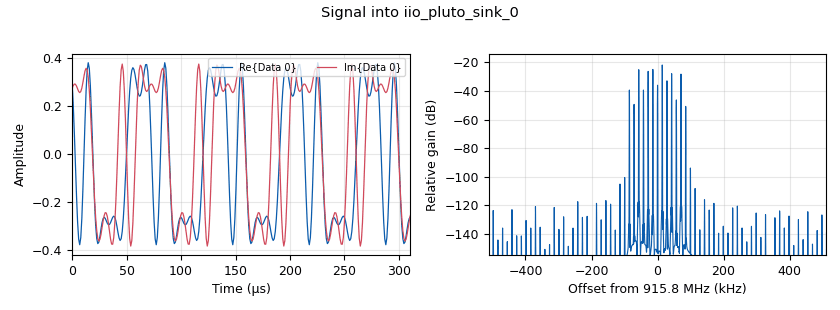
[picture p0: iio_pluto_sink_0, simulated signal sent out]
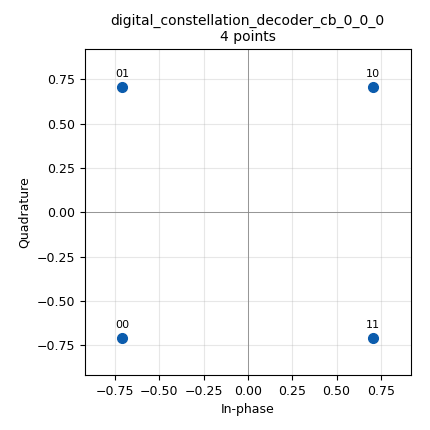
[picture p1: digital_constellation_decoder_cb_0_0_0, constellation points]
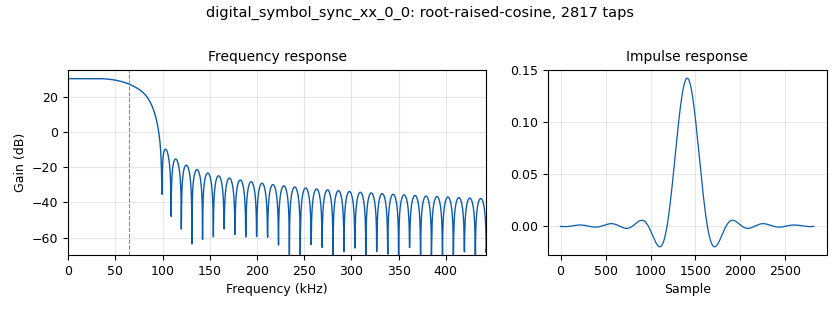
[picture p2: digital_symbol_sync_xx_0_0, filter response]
options:
  parameters:
    generate_options: qt_gui
    id: QAM64
    output_language: python
    title: QAM_Combo
  states: {}

blocks:
- name: carrier_freq
  id: variable
  parameters:
    value: int(915.8e6)
  states: {}
- name: constellation
  id: variable_constellation
  parameters:
    const_points: '[-1-1j, -1+1j, 1+1j, 1-1j]'
    dims: '1'
    normalization: digital.constellation.AMPLITUDE_NORMALIZATION
    precision: '8'
    rot_sym: '4'
    sym_map: '[0,1,2,3]'
    type: calcdist
  states: {}
- name: excess_bw
  id: variable
  parameters:
    value: '0.50'
  states: {}
- name: nfilts
  id: variable
  parameters:
    value: '32'
  states: {}
- name: offset
  id: variable_qtgui_range
  parameters:
    gui_hint: 6,0
    start: '-200e3'
    step: '1'
    stop: 200e3
    value: '0'
  states: {}
- name: rcc_taps
  id: variable_rrc_filter_taps
  parameters:
    alpha: excess_bw
    gain: nfilts
    ntaps: 11*samp_per_sym*nfilts
    samp_rate: nfilts*samp_rate
    sym_rate: samp_rate/samp_per_sym
  states: {}
- name: samp_per_sym
  id: variable
  parameters:
    value: '8'
  states: {}
- name: samp_rate
  id: variable
  parameters:
    value: '1024000'
  states: {}
- name: tx_attenuation
  id: variable_qtgui_range
  parameters:
    gui_hint: 3,0
    start: '0'
    step: '1'
    stop: '89'
    value: '10'
  states: {}
- name: analog_agc_xx_0
  id: analog_agc_xx
  parameters:
    gain: '1.0'
    max_gain: '65536'
    rate: '1e-4'
    reference: '1.0'
    type: complex
  states: {}
- name: analog_sig_source_x_0
  id: analog_sig_source_x
  parameters:
    amp: '1'
    freq: offset
    offset: '0'
    phase: '0'
    samp_rate: samp_rate
    type: complex
    waveform: analog.GR_COS_WAVE
  states: {}
- name: blocks_multiply_const_vxx_0
  id: blocks_multiply_const_vxx
  parameters:
    const: '0.4'
    type: complex
  states: {}
- name: blocks_multiply_xx_0
  id: blocks_multiply_xx
  parameters:
    type: complex
  states: {}
- name: blocks_skiphead_0
  id: blocks_skiphead
  parameters:
    comment: |-
      skip one second of samples
      to allow FLL to sync
    num_items: int(samp_rate)
    type: complex
  states: {}
- name: blocks_unpack_k_bits_bb_0_0
  id: blocks_unpack_k_bits_bb
  parameters:
    k: samp_per_sym
  states: {}
- name: blocks_unpacked_to_packed_xx_0_0
  id: blocks_unpacked_to_packed_xx
  parameters:
    bits_per_chunk: constellation.bits_per_symbol()
    endianness: gr.GR_MSB_FIRST
    type: byte
  states: {}
- name: blocks_vector_source_x_0
  id: blocks_vector_source_x
  parameters:
    repeat: 'True'
    type: byte
    vector: '[0,1, 2, 3, 0, 3, 1, 2, 0]'
  states: {}
- name: digital_constellation_decoder_cb_0_0_0
  id: digital_constellation_decoder_cb
  parameters:
    constellation: constellation
  states: {}
- name: digital_constellation_modulator_0
  id: digital_constellation_modulator
  parameters:
    constellation: constellation
    differential: 'True'
    excess_bw: excess_bw
    samples_per_symbol: samp_per_sym
  states: {}
- name: digital_costas_loop_cc_0
  id: digital_costas_loop_cc
  parameters:
    order: '4'
    w: 2*math.pi*.01
  states: {}
- name: digital_diff_decoder_bb_0
  id: digital_diff_decoder_bb
  parameters:
    coding: digital.DIFF_DIFFERENTIAL
    modulus: '4'
  states: {}
- name: digital_fll_band_edge_cc_0
  id: digital_fll_band_edge_cc
  parameters:
    filter_size: '33'
    rolloff: '.5'
    samps_per_sym: samp_per_sym
    type: cc
    w: 2*math.pi/samp_per_sym/100
  states: {}
- name: digital_symbol_sync_xx_0_0
  id: digital_symbol_sync_xx
  parameters:
    damping: '1.0'
    loop_bw: '0.045'
    max_dev: '1.5'
    nfilters: nfilts
    osps: '1'
    pfb_mf_taps: rcc_taps
    resamp_type: digital.IR_PFB_MF
    sps: samp_per_sym
    ted_gain: '1.0'
    ted_type: digital.TED_SIGNAL_TIMES_SLOPE_ML
    type: cc
  states: {}
- name: iio_pluto_sink_0
  id: iio_pluto_sink
  parameters:
    attenuation1: tx_attenuation
    bandwidth: '20000000'
    buffer_size: '32768'
    cyclic: 'False'
    filter_source: '''Auto'''
    frequency: carrier_freq
    samplerate: samp_rate
    type: fc32
    uri: 192.168.2.1
  states: {}
- name: import_0
  id: import
  parameters:
    imports: import numpy as np; import math
  states: {}
- name: qtgui_const_sink_x_0
  id: qtgui_const_sink_x
  parameters:
    nconnections: '2'
    size: '1000'
    type: complex
    xmax: '1'
    xmin: '-1'
    ymax: '1'
    ymin: '-1'
  states: {}
- name: qtgui_eye_sink_x_0
  id: qtgui_eye_sink_x
  parameters:
    samp_per_symbol: samp_per_sym
    size: '1024'
    srate: samp_rate
    type: complex
    update_time: '1'
  states: {}
- name: qtgui_time_raster_sink_x_1_0
  id: qtgui_time_raster_sink_x
  parameters:
    gui_hint: 29,0
    label1: Input Symbols
    ncols: 512*9
    nrows: '64'
    samp_rate: samp_rate
    type: byte
    zmin: '0'
  states: {}
- name: soapy_rtlsdr_source_0
  id: soapy_rtlsdr_source
  parameters:
    center_freq: carrier_freq
    samp_rate: samp_rate
    type: fc32
  states: {}

connections:
- [analog_agc_xx_0, '0', digital_fll_band_edge_cc_0, '0']
- [analog_sig_source_x_0, '0', blocks_multiply_xx_0, '0']
- [blocks_multiply_const_vxx_0, '0', iio_pluto_sink_0, '0']
- [blocks_multiply_xx_0, '0', analog_agc_xx_0, '0']
- [blocks_skiphead_0, '0', digital_symbol_sync_xx_0_0, '0']
- [blocks_unpack_k_bits_bb_0_0, '0', qtgui_time_raster_sink_x_1_0, '0']
- [blocks_unpacked_to_packed_xx_0_0, '0', digital_constellation_modulator_0, '0']
- [blocks_vector_source_x_0, '0', blocks_unpacked_to_packed_xx_0_0, '0']
- [digital_constellation_decoder_cb_0_0_0, '0', digital_diff_decoder_bb_0, '0']
- [digital_constellation_modulator_0, '0', blocks_multiply_const_vxx_0, '0']
- [digital_costas_loop_cc_0, '0', digital_constellation_decoder_cb_0_0_0, '0']
- [digital_costas_loop_cc_0, '0', qtgui_const_sink_x_0, '1']
- [digital_costas_loop_cc_0, '0', qtgui_eye_sink_x_0, '0']
- [digital_diff_decoder_bb_0, '0', blocks_unpack_k_bits_bb_0_0, '0']
- [digital_fll_band_edge_cc_0, '0', blocks_skiphead_0, '0']
- [digital_symbol_sync_xx_0_0, '0', digital_costas_loop_cc_0, '0']
- [digital_symbol_sync_xx_0_0, '0', qtgui_const_sink_x_0, '0']
- [soapy_rtlsdr_source_0, '0', blocks_multiply_xx_0, '1']

metadata:
  file_format: 1
  grc_version: 3.10.7.0
